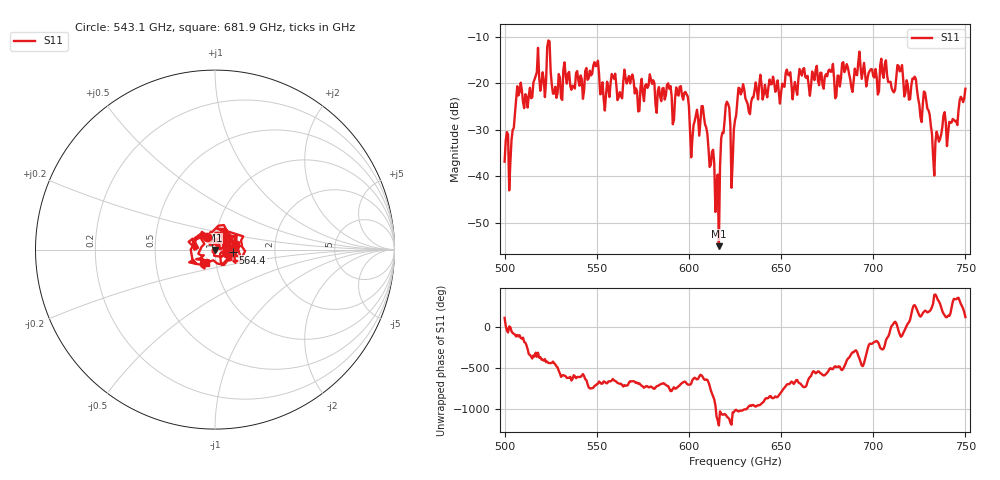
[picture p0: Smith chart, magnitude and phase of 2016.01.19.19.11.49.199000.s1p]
!Created with skrf (http://scikit-rf.org).
# GHz S RI R 50.0
!freq ReS11 ImS11
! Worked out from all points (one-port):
!   401 points, 500 GHz to 750 GHz, reference 50 ohm
!   lowest |S11| = -55.0 dB at 616.2 GHz (marker M1), VSWR 1.00, Z = 49.9 - j0.138 ohm
!   |S11| at or under -10 dB: start of sweep to end of sweep
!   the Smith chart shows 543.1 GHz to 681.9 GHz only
!   S11 on the Smith chart (normalised r, x): 543.1 GHz: 0.91, +0.13; 564.4 GHz: 1.22, -0.04; 681.9 GHz: 0.89, -0.14
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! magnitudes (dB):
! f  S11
! 500 GHz  -36.9
! 503.8 GHz  -32.2
! 508.1 GHz  -21.9
! 523.8 GHz  -10.8
! 526.9 GHz  -22.2
! 531.2 GHz  -23.6
! 543.1 GHz  -21.6
! 549.4 GHz  -16.4
! 553.1 GHz  -19.8
! 562.5 GHz  -21.9
! 564.4 GHz  -19.8
! 593.8 GHz  -22.4
! 601.9 GHz  -31.9
! 608.1 GHz  -27.1
! 615 GHz  -41.5
! 616.2 GHz  -55.0
! 620.6 GHz  -24.0
! 623.8 GHz  -36.6
! 625 GHz  -28.0
! 628.1 GHz  -22.4
! 656.2 GHz  -23.5
! 681.9 GHz  -20.7
! 687.5 GHz  -19.1
! 714.4 GHz  -17.5
! 718.8 GHz  -20.4
! 728.8 GHz  -23.8
! 733.8 GHz  -32.6
! 750 GHz  -21.2
